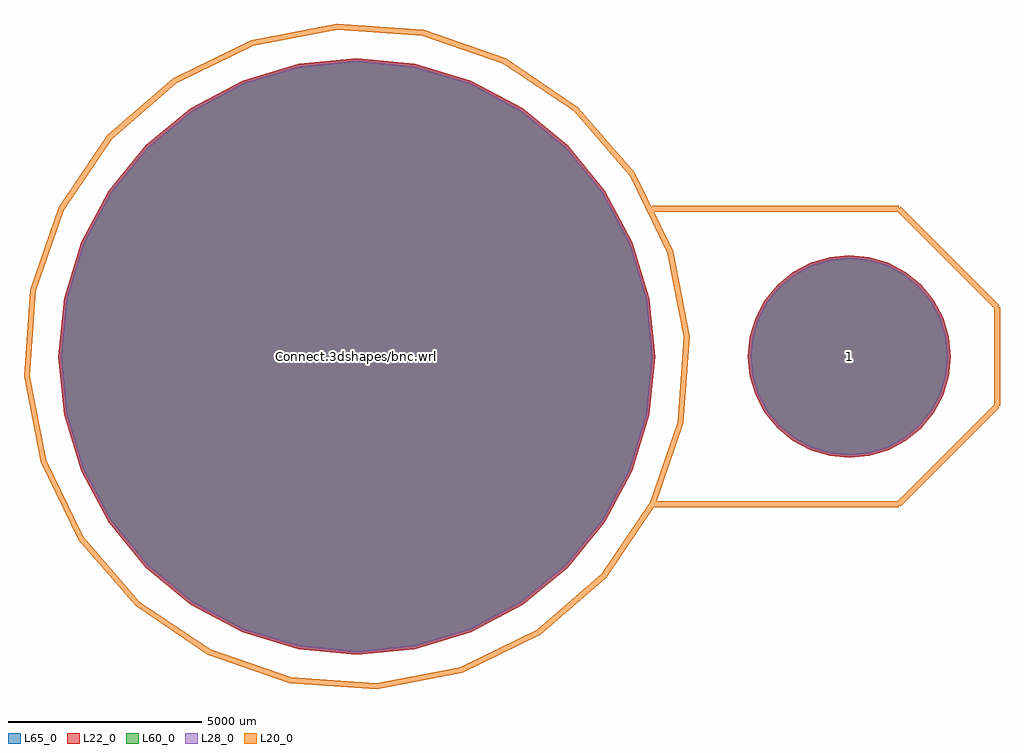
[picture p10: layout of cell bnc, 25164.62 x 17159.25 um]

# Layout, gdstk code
import gdstk
lib = gdstk.Library(unit=1e-6, precision=1e-09)
def P(c, l, *ps):  # polygons
    for p in ps: c.add(gdstk.Polygon(p, *l))
L20_0 = (20, 0)
L22_0 = (22, 0)
L28_0 = (28, 0)
L60_0 = (60, 0)
L65_0 = (65, 0)

bnc = lib.new_cell('bnc')
P(bnc, L22_0, [(15315,0),(15264.754,510.161),(15115.945,1000.717),(14874.293,1452.816),(14549.084,1849.084),(14152.816,2174.293),(13700.717,2415.945),(13210.161,2564.754),(12700,2615),(12189.839,2564.754),(11699.283,2415.945),(11247.184,2174.293),(10850.916,1849.084),(10525.707,1452.816),(10284.055,1000.717),(10135.246,510.161),(10085,0),(10135.246,-510.161),(10284.055,-1000.717),(10525.707,-1452.816),(10850.916,-1849.084),(11247.184,-2174.293),(11699.283,-2415.945),(12189.839,-2564.754),(12700,-2615),(13210.161,-2564.754),(13700.717,-2415.945),(14152.816,-2174.293),(14549.084,-1849.084),(14874.293,-1452.816),(15115.945,-1000.717),(15264.754,-510.161)],
  [(7695,0),(7547.143,1501.22),(7109.253,2944.749),(6398.159,4275.113),(5441.187,5441.187),(4275.113,6398.159),(2944.749,7109.253),(1501.22,7547.143),(0,7695),(-1501.22,7547.143),(-2944.749,7109.253),(-4275.113,6398.159),(-5441.187,5441.187),(-6398.159,4275.113),(-7109.253,2944.749),(-7547.143,1501.22),(-7695,0),(-7547.143,-1501.22),(-7109.253,-2944.749),(-6398.159,-4275.113),(-5441.187,-5441.187),(-4275.113,-6398.159),(-2944.749,-7109.253),(-1501.22,-7547.143),(0,-7695),(1501.22,-7547.143),(2944.749,-7109.253),(4275.113,-6398.159),(5441.187,-5441.187),(6398.159,-4275.113),(7109.253,-2944.749),(7547.143,-1501.22)])
P(bnc, L28_0, [(15240,0),(15191.195,495.529),(15046.654,972.016),(14811.933,1411.148),(14496.051,1796.051),(14111.148,2111.933),(13672.016,2346.654),(13195.529,2491.195),(12700,2540),(12204.471,2491.195),(11727.984,2346.654),(11288.852,2111.933),(10903.949,1796.051),(10588.067,1411.148),(10353.346,972.016),(10208.805,495.529),(10160,0),(10208.805,-495.529),(10353.346,-972.016),(10588.067,-1411.148),(10903.949,-1796.051),(11288.852,-2111.933),(11727.984,-2346.654),(12204.471,-2491.195),(12700,-2540),(13195.529,-2491.195),(13672.016,-2346.654),(14111.148,-2111.933),(14496.051,-1796.051),(14811.933,-1411.148),(15046.654,-972.016),(15191.195,-495.529)],
  [(7620,0),(7473.584,1486.588),(7039.962,2916.048),(6335.798,4233.445),(5388.154,5388.154),(4233.445,6335.798),(2916.048,7039.962),(1486.588,7473.584),(0,7620),(-1486.588,7473.584),(-2916.048,7039.962),(-4233.445,6335.798),(-5388.154,5388.154),(-6335.798,4233.445),(-7039.962,2916.048),(-7473.584,1486.588),(-7620,0),(-7473.584,-1486.588),(-7039.962,-2916.048),(-6335.798,-4233.445),(-5388.154,-5388.154),(-4233.445,-6335.798),(-2916.048,-7039.962),(-1486.588,-7473.584),(0,-7620),(1486.588,-7473.584),(2916.048,-7039.962),(4233.445,-6335.798),(5388.154,-5388.154),(6335.798,-4233.445),(7039.962,-2916.048),(7473.584,-1486.588)])
P(bnc, L60_0, [(15240,0),(15191.195,495.529),(15046.654,972.016),(14811.933,1411.148),(14496.051,1796.051),(14111.148,2111.933),(13672.016,2346.654),(13195.529,2491.195),(12700,2540),(12204.471,2491.195),(11727.984,2346.654),(11288.852,2111.933),(10903.949,1796.051),(10588.067,1411.148),(10353.346,972.016),(10208.805,495.529),(10160,0),(10208.805,-495.529),(10353.346,-972.016),(10588.067,-1411.148),(10903.949,-1796.051),(11288.852,-2111.933),(11727.984,-2346.654),(12204.471,-2491.195),(12700,-2540),(13195.529,-2491.195),(13672.016,-2346.654),(14111.148,-2111.933),(14496.051,-1796.051),(14811.933,-1411.148),(15046.654,-972.016),(15191.195,-495.529)],
  [(7620,0),(7473.584,1486.588),(7039.962,2916.048),(6335.798,4233.445),(5388.154,5388.154),(4233.445,6335.798),(2916.048,7039.962),(1486.588,7473.584),(0,7620),(-1486.588,7473.584),(-2916.048,7039.962),(-4233.445,6335.798),(-5388.154,5388.154),(-6335.798,4233.445),(-7039.962,2916.048),(-7473.584,1486.588),(-7620,0),(-7473.584,-1486.588),(-7039.962,-2916.048),(-6335.798,-4233.445),(-5388.154,-5388.154),(-4233.445,-6335.798),(-2916.048,-7039.962),(-1486.588,-7473.584),(0,-7620),(1486.588,-7473.584),(2916.048,-7039.962),(4233.445,-6335.798),(5388.154,-5388.154),(6335.798,-4233.445),(7039.962,-2916.048),(7473.584,-1486.588)])
P(bnc, L65_0, [(15315,0),(15264.754,510.161),(15115.945,1000.717),(14874.293,1452.816),(14549.084,1849.084),(14152.816,2174.293),(13700.717,2415.945),(13210.161,2564.754),(12700,2615),(12189.839,2564.754),(11699.283,2415.945),(11247.184,2174.293),(10850.916,1849.084),(10525.707,1452.816),(10284.055,1000.717),(10135.246,510.161),(10085,0),(10135.246,-510.161),(10284.055,-1000.717),(10525.707,-1452.816),(10850.916,-1849.084),(11247.184,-2174.293),(11699.283,-2415.945),(12189.839,-2564.754),(12700,-2615),(13210.161,-2564.754),(13700.717,-2415.945),(14152.816,-2174.293),(14549.084,-1849.084),(14874.293,-1452.816),(15115.945,-1000.717),(15264.754,-510.161)],
  [(7695,0),(7547.143,1501.22),(7109.253,2944.749),(6398.159,4275.113),(5441.187,5441.187),(4275.113,6398.159),(2944.749,7109.253),(1501.22,7547.143),(0,7695),(-1501.22,7547.143),(-2944.749,7109.253),(-4275.113,6398.159),(-5441.187,5441.187),(-6398.159,4275.113),(-7109.253,2944.749),(-7547.143,1501.22),(-7695,0),(-7547.143,-1501.22),(-7109.253,-2944.749),(-6398.159,-4275.113),(-5441.187,-5441.187),(-4275.113,-6398.159),(-2944.749,-7109.253),(-1501.22,-7547.143),(0,-7695),(1501.22,-7547.143),(2944.749,-7109.253),(4275.113,-6398.159),(5441.187,-5441.187),(6398.159,-4275.113),(7109.253,-2944.749),(7547.143,-1501.22)])
bnc.add(gdstk.FlexPath([(7620,-3810),(8346.455,-1707.976),(8504.114,510.443),(8082.231,2694.077),(7109.557,4694.114),(5652.379,6374.254),(3810,7620),(1707.976,8346.455),(-510.443,8504.114),(-2694.077,8082.231),(-4694.114,7109.557),(-6374.254,5652.379),(-7620,3810),(-8346.455,1707.976),(-8504.114,-510.443),(-8082.231,-2694.077),(-7109.557,-4694.114),(-5652.379,-6374.254),(-3810,-7620),(-1707.976,-8346.455),(510.443,-8504.114),(2694.077,-8082.231),(4694.114,-7109.557),(6374.254,-5652.379),(7620,-3810)], 149.998, ends="flush", simple_path=True, layer=20, datatype=0))  # L20_0
bnc.add(gdstk.FlexPath([(13970,3810),(7620,3810)], 149.998, ends="flush", simple_path=True, layer=20, datatype=0))  # L20_0
bnc.add(gdstk.FlexPath([(16510,1270),(13970,3810)], 149.998, ends="flush", simple_path=True, layer=20, datatype=0))  # L20_0
bnc.add(gdstk.FlexPath([(16510,-1270),(16510,1270)], 149.998, ends="flush", simple_path=True, layer=20, datatype=0))  # L20_0
bnc.add(gdstk.FlexPath([(13970,-3810),(16510,-1270)], 149.998, ends="flush", simple_path=True, layer=20, datatype=0))  # L20_0
bnc.add(gdstk.FlexPath([(7620,-3810),(13970,-3810)], 149.998, ends="flush", simple_path=True, layer=20, datatype=0))  # L20_0
bnc.add(gdstk.Label('Connect.3dshapes/bnc.wrl', (0,0), layer=12, texttype=0))
bnc.add(gdstk.Label('1', (12700,0), layer=28, texttype=0))
bnc.add(gdstk.Label('2', (0,0), layer=28, texttype=0))
bnc.add(gdstk.Label('type', (-3810,-11430), layer=9, texttype=0))
bnc.add(gdstk.Label('devicename', (-2540,10160), layer=9, texttype=0))

lib.write_gds('bnc.gds')
